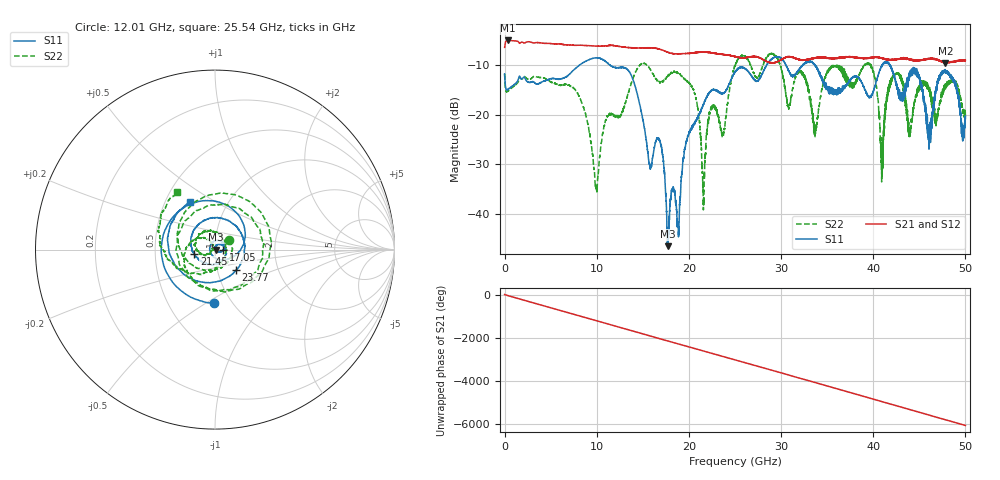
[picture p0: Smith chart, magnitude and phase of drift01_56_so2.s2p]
!Created with skrf (http://scikit-rf.org).
# Hz S RI R 50.0
!freq ReS11 ImS11 ReS21 ImS21 ReS12 ImS12 ReS22 ImS22
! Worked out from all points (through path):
!   10001 points, 300 kHz to 50 GHz, reference 50 ohm
!   highest |S21| = -5.05 dB at 325.3 MHz (marker M1); lowest = -9.6 dB at 47.84 GHz (marker M2)
!   group delay of S21, straight-line fit = 336 ps
!   lowest |S11| = -46.5 dB at 17.7 GHz (marker M3), VSWR 1.01, Z = 50.5 - j0.125 ohm
!   |S11| at or under -10 dB: start of sweep to 8.151 GHz; 11.42 GHz to 28.42 GHz (16.99 GHz wide, 85.3 % of centre); 41.8 GHz to end of sweep (the widest 3 of 14)
!   |S22| runs from -39.2 to -7.6 dB; largest |S21 - S12| = 0.014
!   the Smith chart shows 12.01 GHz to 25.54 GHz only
!   S11 on the Smith chart (normalised r, x): 12.01 GHz: 0.83, -0.54; 17.05 GHz: 1.10, -0.01; 21.45 GHz: 0.79, -0.04; 23.77 GHz: 1.23, -0.29; 25.54 GHz: 0.67, +0.38
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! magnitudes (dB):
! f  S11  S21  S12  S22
! 300 kHz  -11.8  -6.4  -6.5  -11.8
! 325.3 MHz  -14.9  -5.0  -5.1  -15.3
! 8.335 GHz  -9.7  -6.0  -6.0  -17.5
! 9.94 GHz  -8.6  -6.2  -6.2  -34.7
! 12.01 GHz  -10.5  -6.1  -6.2  -20.4
! 16.67 GHz  -24.7  -6.7  -6.7  -13.4
! 17.05 GHz  -26.8  -6.9  -6.9  -13.5
! 17.7 GHz  -46.5  -7.4  -7.4  -12.3
! 20.47 GHz  -22.3  -7.5  -7.6  -14.9
! 21.45 GHz  -18.6  -7.4  -7.4  -31.2
! 22.47 GHz  -15.1  -7.5  -7.6  -19.0
! 23.77 GHz  -15.7  -7.9  -7.9  -23.8
! 25 GHz  -11.4  -8.3  -8.3  -10.1
! 25.54 GHz  -10.5  -8.5  -8.5  -8.4
! 33.34 GHz  -9.4  -8.7  -8.7  -19.0
! 39.51 GHz  -16.3  -8.6  -8.6  -9.8
! 40.97 GHz  -10.0  -8.6  -8.6  -29.0
! 41.67 GHz  -9.6  -8.8  -8.9  -14.3
! 44.78 GHz  -12.4  -9.2  -9.2  -15.2
! 46.11 GHz  -25.5  -8.8  -8.8  -15.2
! 47.84 GHz  -11.1  -9.6  -9.5  -14.6
! 50 GHz  -20.8  -9.1  -9.1  -20.4
